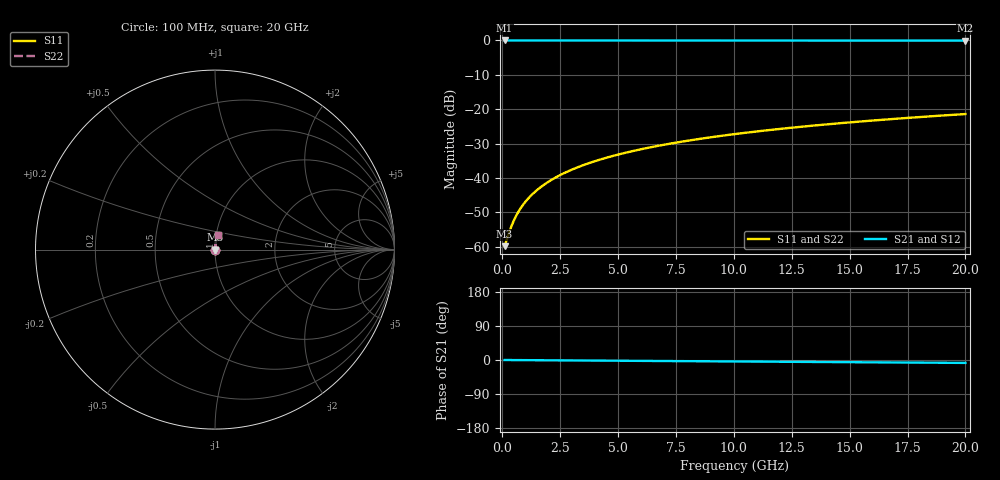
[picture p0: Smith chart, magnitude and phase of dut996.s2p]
! Touchstone file exported from HFSS 2026.1.0
!  File:  C:/ffzhzh/LocalFiles/Ansys_Project_Files/temp_train_TSV_996_1783188297_51560.aedt
!  Generated:  02:07:00 AM Jul  5, 2026
!  Design:  TSV
!  Project:  temp_train_TSV_996_1783188297_51560
! Variables:
!  h_bsmrdl = 2um
!  h_ox = 20um
!  h_rdl = 5um
!  h_sub = 54.95um
!  h_tmrdl = 5um
!  h_tsv = 54.95um
!  h_via = 3um
!  l_bsmrdl = 300um
!  l_sub = 405.34um
!  l_tmrdl = 200um
!  m_sub = 200um
!  pitch = 37.22um
!  r_tsv = 2.67um
!  s_tmrdl = 10um
!  w_bsmrdl = 18um
!  w_sub = 500um
!  w_tmrdl = 12um
!  x_tsv_center1 = 206um
!  x_tsv_center2 = 524um
!  x_tsv_center3 = 736um
!  x_tsv_center4 = 1054um
!  x_tsv_center5 = 1266um
!  x_tsv_center6 = 1584um
# GHz S MA R 50.000000
! Terminal data exported
! Port[1] = TSV1_1_T1
! Port[2] = TSV1_1_T2
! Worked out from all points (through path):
!   200 points, 100 MHz to 20 GHz, reference 50 ohm
!   highest |S21| = -0.01 dB at 100 MHz (marker M1); lowest = -0.1 dB at 20 GHz (marker M2)
!   group delay of S21, straight-line fit = 1.07 ps
!   lowest |S11| = -59.8 dB at 100 MHz (marker M3), VSWR 1.00, Z = 50.1 + j0.0449 ohm
!   |S11| at or under -10 dB: start of sweep to end of sweep
!   |S22| runs from -59.8 to -21.4 dB; largest |S21 - S12| = 4.3e-15
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0.1  0.001019 26.1  0.9991 -0.0  0.9991 -0.0  0.001019 26.1
! Gamma 0 0 0 0
! Port Impedance 50 0 50 0
0.3  0.001629 55.2  0.9991 -0.1  0.9991 -0.1  0.001629 55.2
0.4  0.002012 62.2  0.9991 -0.2  0.9991 -0.2  0.002012 62.2
0.5  0.002413 66.9  0.9991 -0.2  0.9991 -0.2  0.002413 66.9
0.6  0.002824 70.2  0.999 -0.2  0.999 -0.2  0.002824 70.2
0.7  0.003242 72.6  0.999 -0.3  0.999 -0.3  0.003242 72.6
0.9  0.004089 76.0  0.999 -0.4  0.999 -0.4  0.004089 76.0
1.2  0.005376 79.1  0.999 -0.5  0.999 -0.5  0.005376 79.1
1.4  0.006239 80.4  0.999 -0.5  0.999 -0.5  0.006239 80.4
1.7  0.00754 81.7  0.999 -0.7  0.999 -0.7  0.00754 81.7
2.2  0.009714 83.1  0.9989 -0.9  0.9989 -0.9  0.009714 83.1
2.8  0.01233 84.0  0.9989 -1.1  0.9989 -1.1  0.01233 84.0
3.5  0.01537 84.5  0.9988 -1.4  0.9988 -1.4  0.01537 84.5
4.2  0.01842 84.8  0.9987 -1.6  0.9987 -1.6  0.01842 84.8
5  0.02188 84.8  0.9985 -2.0  0.9985 -2.0  0.02188 84.8
5.9  0.02577 84.8  0.9984 -2.3  0.9984 -2.3  0.02577 84.8
6.8  0.02964 84.6  0.9982 -2.6  0.9982 -2.6  0.02964 84.6
8.3  0.03607 84.3  0.9978 -3.2  0.9978 -3.2  0.03607 84.3
10.1  0.04372 83.8  0.9973 -3.9  0.9973 -3.9  0.04372 83.8
13.4  0.05762 82.7  0.9962 -5.2  0.9962 -5.2  0.05762 82.7
16.7  0.07139 81.7  0.9951 -6.4  0.9951 -6.4  0.07139 81.7
20  0.08504 80.5  0.9937 -7.7  0.9937 -7.7  0.08504 80.5
